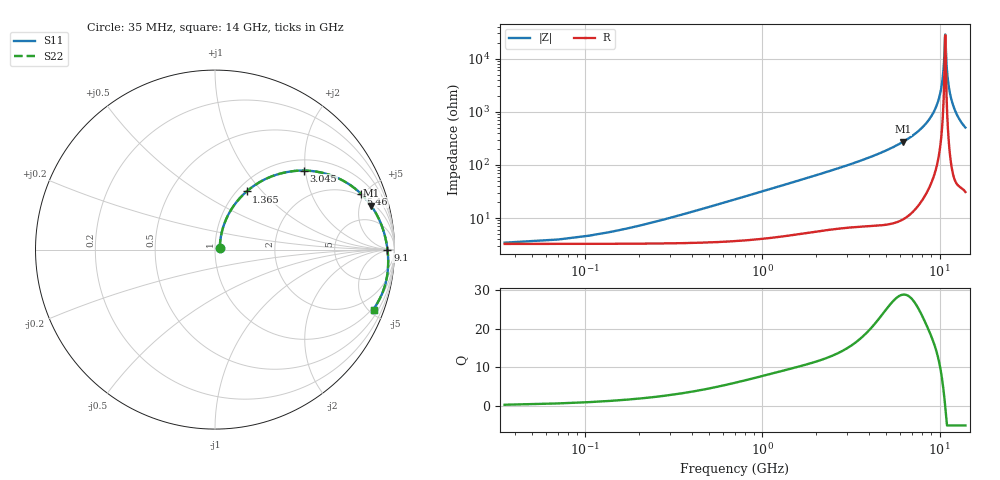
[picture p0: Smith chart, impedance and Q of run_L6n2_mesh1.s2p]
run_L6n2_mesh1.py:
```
########################################################################
#
# Copyright 2025 Volker Muehlhaus and IHP PDK Authors
#
# Licensed under the GNU General Public License, Version 3.0 (the "License");
# you may not use this file except in compliance with the License.
# You may obtain a copy of the License at
#
#    https://www.gnu.org/licenses/gpl-3.0
#
# Unless required by applicable law or agreed to in writing, software
# distributed under the License is distributed on an "AS IS" BASIS,
# WITHOUT WARRANTIES OR CONDITIONS OF ANY KIND, either express or implied.
# See the License for the specific language governing permissions and
# limitations under the License.
#
########################################################################

import os

from gds2openEMS import *

from openEMS import openEMS
import numpy as np


# Model comments
#
# This is a generic model running port excitation for all ports defined below,
# to get full [S] matrix data.
# Output is stored to Touchstone S-parameter file.
# No data plots are created by this script.
#
# This model uses the settings{} dictionary syntax and the gds2openEMS PyPI package
# (pip install gds2openEMS) instead of a local copy of the modules folder - see the
# README for the loose-variable / local-modules-copy alternative, still fully supported.


# ======================== workflow settings ================================

settings = {}

settings['preview_only'] = False  # preview model/mesh only?
settings['no_gui'] = False # if set to True, there is no mesh/model preview in AppCSXCAD, and simulation starts immediately.

settings['numThreads'] = 0 # run on xx cores, changes to 0 for automatic detection by openEMS


# ===================== input files and path settings =======================

gds_filename = "L6n2_with_ports.gds"   # geometries
XML_filename = "openEMS_SG13G2_200um.xml"          # stackup

# merge via polygons with distance less than .. microns, set to 0 to disable via merging.
settings['merge_polygon_size'] = 2
settings['fill_factor_correction'] = False

settings['preprocess_gds'] = False # preprocessing is no longer required

# get path for this simulation file
script_path = utilities.get_script_path(__file__)
# use script filename as model basename
model_basename = utilities.get_basename(__file__)
# set and create directory for simulation output
sim_path = utilities.create_sim_path (script_path,model_basename)
print('Simulation data directory: ', sim_path)
# change current path to model script path
os.chdir(os.path.dirname(os.path.abspath(__file__)))

# ======================== simulation settings ================================

settings['unit']   = 1e-6  # geometry is in microns
settings['margin'] = 250    # distance in microns from GDSII geometry boundary to simulation boundary
settings['air_around'] = 800   # air beyond the margin on all six sides: the box of the README's first step

settings['fstart']  = 0e9
settings['fstop']   = 14e9
settings['numfreq'] = 401

settings['refined_cellsize'] = 1 # mesh cell size in conductor region

# choices for boundary:
# 'PEC' : perfect electric conductor (default)
# 'PMC' : perfect magnetic conductor, useful for symmetries
# 'MUR' : simple MUR absorbing boundary conditions
# 'PML_8' : PML absorbing boundary conditions
settings['Boundaries'] = ['PEC', 'PEC', 'PEC', 'PEC', 'PEC', 'PEC']

settings['cells_per_wavelength'] = 20   # how many mesh cells per wavelength, must be 10 or more
settings['energy_limit'] = -40          # end criteria for residual energy (dB)

# port configuration, port geometry is read from GDSII file on the specified layer
simulation_ports = simulation_setup.all_simulation_ports()

# in-plane port is specified with target_layername= and direction x or y
# via port is specified with from_layername= and to_layername= and direction z
simulation_ports.add_port(simulation_setup.simulation_port(portnumber=1, 
                                                           voltage=1, 
                                                           port_Z0=50, 
                                                           source_layernum=201, 
                                                           from_layername='SUBGND', 
                                                           to_layername='TopMetal1', 
                                                           direction='z'))

simulation_ports.add_port(simulation_setup.simulation_port(portnumber=2, 
                                                           voltage=1, 
                                                           port_Z0=50, 
                                                           source_layernum=202, 
                                                           from_layername='SUBGND', 
                                                           to_layername='TopMetal1', 
                                                           direction='z'))

# ======================== simulation ================================

# get technology stackup data
materials_list, dielectrics_list, metals_list = stackup_reader.read_substrate (XML_filename)
# get list of layers from technology
layernumbers = metals_list.getlayernumbers()
# we must also read the layers where we added ports, these are not included in technology layers
layernumbers.extend(simulation_ports.portlayers)

# read geometries from GDSII, only purpose 0
allpolygons = gds_reader.read_gds(gds_filename,
                                  layernumbers,
                                  purposelist=[0],
                                  metals_list=metals_list,
                                  preprocess=settings['preprocess_gds'],
                                  merge_polygon_size=settings['merge_polygon_size'])

# maximum cellsize is calculated inside setupSimulation when using settings dictionary

# define excitation and stop criteria and boundaries
FDTD = openEMS(EndCriteria=np.exp(settings['energy_limit']/10 * np.log(10)))
FDTD.SetGaussExcite( (settings['fstart']+settings['fstop'])/2, (settings['fstop']-settings['fstart'])/2 )
FDTD.SetBoundaryCond( settings['Boundaries'] )

settings['simulation_ports'] = simulation_ports
settings['materials_list'] = materials_list
settings['dielectrics_list'] = dielectrics_list
settings['metals_list'] = metals_list
settings['layernumbers'] = layernumbers
settings['allpolygons'] = allpolygons
settings['sim_path'] = sim_path
settings['model_basename'] = model_basename


########### create model, run and post-process ###########

# run all active port excitations, one after another. Ports with voltage=0 are skipped here -
# their S-parameters are left out of the result, see the FAQ in the user's guide.

for excite_portnumbers in simulation_ports.all_active_excitations():
    settings['excite_portnumbers'] = excite_portnumbers

    simulation_setup.setupSimulation (FDTD=FDTD, settings=settings)  # must use named parameters when using settings dict!
    simulation_setup.runSimulation   (FDTD=FDTD, settings=settings)  # must use named parameters when using settings dict!


# Initialize an empty matrix for S-parameters
num_ports = simulation_ports.portcount
s_params = np.empty((num_ports, num_ports, settings['numfreq']), dtype=object)

# Define frequency resolution. Due to FFT from Empire time domain results,
# this is postprocessing and we can change it again at any time.
f = np.linspace(settings['fstart'],settings['fstop'],settings['numfreq'])

# Populate the S-parameter matrix with simulation results
for i in range(1, num_ports + 1):
    for j in range(1, num_ports + 1):
        s_params[i-1, j-1] = utilities.calculate_Sij(i, j, f, sim_path, simulation_ports)

# Write to Touchstone *.snp file
snp_name = os.path.join(sim_path, model_basename + '.s' + str(num_ports) + 'p')
utilities.write_snp(s_params, f, snp_name, z0=simulation_ports.get_reference_impedance())

print('Created S-parameter output file at ', snp_name)
```
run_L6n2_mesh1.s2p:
#  Hz  S  RI  R  50
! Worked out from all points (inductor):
!   400 points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, 35 MHz to 14 GHz, reference 50 ohm
!   read as one part in series: L = 5.02 nH near 350 MHz
!   highest Q = 28.7 at 6.23 GHz (marker M1), where L = 6.95 nH
!   self-resonance near 10.74 GHz
!   S11 on the Smith chart (normalised r, x): 35 MHz: 1.05, +0.02; 1.365 GHz: 1.10, +0.83; 3.045 GHz: 1.25, +1.96; 5.46 GHz: 1.84, +4.73; 9.1 GHz: 50, -1; 14 GHz: 0.86, -5.33
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3.5e7  0.0266 0.01  0.9632 -0.0108  0.9632 -0.0108  0.0266 0.01
1.365e9  0.1764 0.3242  0.8064 -0.349  0.8064 -0.349  0.1764 0.3241
3.045e9  0.4947 0.4403  0.4804 -0.4825  0.4804 -0.4825  0.4946 0.4403
5.46e9  0.8133 0.3112  0.1594 -0.3791  0.1594 -0.3791  0.8132 0.3111
6.23e9  0.8706 0.2442  0.1011 -0.3211  0.1011 -0.3211  0.8705 0.2441
7.035e9  0.9122 0.1726  0.0582 -0.2588  0.0582 -0.2588  0.9121 0.1726
9.1e9  0.961 -0.000484  0.00629 -0.1093  0.00629 -0.1093  0.9609 -0.000495
1.029e10  0.9644 -0.093  0.00111 -0.0307  0.00111 -0.0307  0.9643 -0.093
1.078e10  0.9613 -0.13  0.00338 0.00041  0.00338 0.00041  0.9613 -0.13
1.155e10  0.9509 -0.1864  0.0123 0.0475  0.0123 0.0475  0.9508 -0.1864
1.4e10  0.8832 -0.3344  0.0741 0.1672  0.0741 0.1672  0.8832 -0.3343
